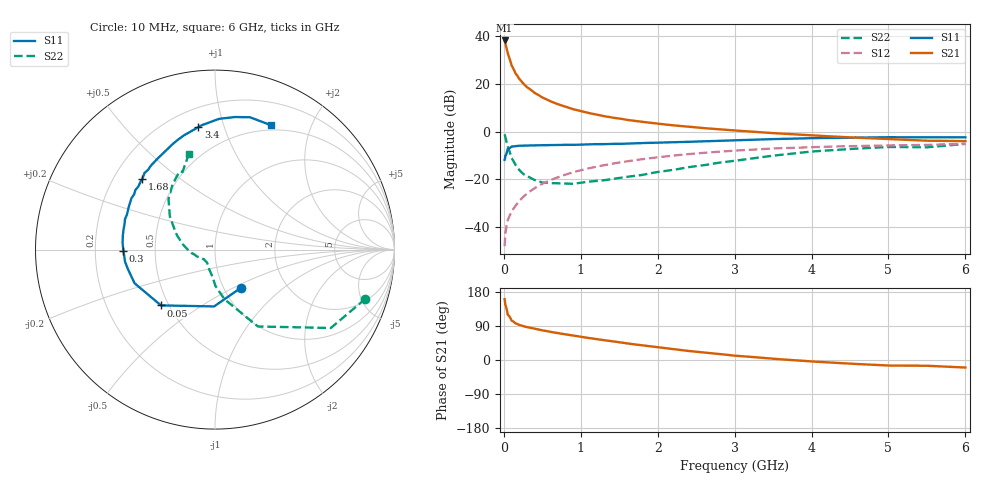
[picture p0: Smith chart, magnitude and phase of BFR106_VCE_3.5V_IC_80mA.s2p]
! Infineon Technologies  Discrete & RF Semiconductors
! BFR106
! VCE =  3.5 V,  IC =  80 mA
! Common Emitter S-Parameters:  Nov 2015
# GHz  S  MA  R  50
!  f  S11  S21  S12  S22
! GHz  MAG  ANG  MAG  ANG  MAG  ANG  MAG  ANG
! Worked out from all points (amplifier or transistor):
!   210 points, 10 MHz to 6 GHz, reference 50 ohm
!   highest |S21| = 38.2 dB at 10 MHz (marker M1)
!   |S21| within 3 dB of that: start of sweep to 33.09 MHz
!   unconditionally stable (mu >= 1): 194.4 MHz to 2.503 GHz; 5.431 GHz to end of sweep
!   at 185 MHz: K = 0.99, MSG = 26.3 dB, |S12| = -29.7 dB
!   at 1.52 GHz: K = 1.05, MAG = 7.7 dB, |S12| = -12.8 dB
!   at 6 GHz: K = 1.00, MAG = 0.4 dB, |S12| = -5.1 dB
!   S11 on the Smith chart (normalised r, x): 10 MHz: 1.20, -0.55; 50 MHz: 0.45, -0.35; 300 MHz: 0.32, -0.01; 1.68 GHz: 0.32, +0.37; 3.4 GHz: 0.32, +0.82; 6 GHz: 0.44, +1.45
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0.01  0.2572 -56.3  80.88 160.5  0.004 78.3  0.882 -18.1
0.02  0.3167 -90.9  70.24 145.4  0.0074 70.9  0.7791 -34.1
0.05  0.4329 -134.1  43.42 119.9  0.0138 61.4  0.4908 -60.8
0.1  0.4859 -157.4  24.49 104.2  0.0209 64.9  0.2826 -79.0
0.15  0.4974 -167.5  16.75 96.8  0.0277 68.2  0.2019 -89.4
0.2  0.5057 -172.3  12.77 92.6  0.035 71.1  0.1578 -94.1
0.24  0.5075 -175.9  10.71 89.9  0.0411 71.7  0.1356 -99.2
0.26  0.5087 -177.3  9.873 88.7  0.0441 72.1  0.1276 -101.5
0.3  0.511 -179.3  8.545 86.7  0.0501 73.2  0.1175 -105.3
0.4  0.5163 175.7  6.469 82.4  0.0652 73.7  0.0969 -113.3
0.5  0.5193 171.5  5.193 78.3  0.0805 73.3  0.0862 -119.8
0.6  0.5216 167.8  4.353 74.5  0.0957 72.4  0.0836 -124.2
0.8  0.5295 161.4  3.305 67.7  0.1255 70.0  0.0821 -135.1
1.02  0.5359 153.7  2.636 60.7  0.1581 67.0  0.0856 -142.5
1.3  0.5455 145.7  2.11 52.3  0.1977 62.8  0.0958 -153.2
1.68  0.5656 135.8  1.691 41.7  0.2493 56.9  0.1172 -166.1
2.02  0.5889 127.2  1.453 33.1  0.2924 51.4  0.1444 -176.6
3.1  0.6659 103.2  1.03 10.0  0.4079 34.1  0.2576 152.3
3.4  0.6882 97.8  0.954 5.0  0.434 29.6  0.2987 145.4
4.1  0.7317 86.8  0.817 -4.9  0.4792 19.2  0.3925 130.4
5.1  0.7614 74.1  0.687 -14.7  0.5174 6.9  0.4758 114.2
6  0.7597 65.7  0.633 -19.9  0.5591 -2.5  0.5537 105.2
